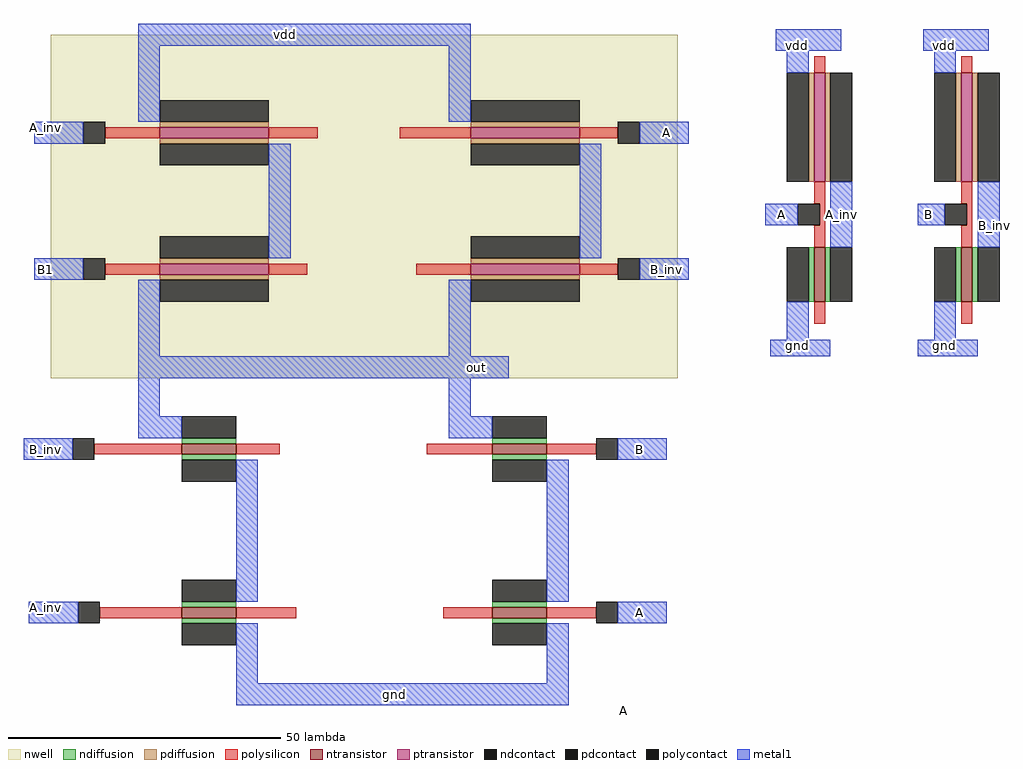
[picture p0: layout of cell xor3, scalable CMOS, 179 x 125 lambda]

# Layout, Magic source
magic
tech scmos
<< nwell >>
rect -20 -39 95 24
<< polysilicon >>
rect 120 17 122 20
rect 147 17 149 20
rect -10 5 0 7
rect 20 5 29 7
rect 44 5 57 7
rect 77 5 84 7
rect 120 -7 122 -3
rect 147 -7 149 -3
rect 121 -11 122 -7
rect 148 -11 149 -7
rect 120 -15 122 -11
rect 147 -15 149 -11
rect -10 -20 0 -18
rect 20 -20 27 -18
rect 47 -20 57 -18
rect 77 -20 84 -18
rect 120 -29 122 -25
rect 147 -29 149 -25
rect -12 -53 4 -51
rect 14 -53 22 -51
rect 49 -53 61 -51
rect 71 -53 80 -51
rect -11 -83 4 -81
rect 14 -83 25 -81
rect 52 -83 61 -81
rect 71 -83 80 -81
<< ndiffusion >>
rect 119 -25 120 -15
rect 122 -25 123 -15
rect 146 -25 147 -15
rect 149 -25 150 -15
rect 4 -51 14 -50
rect 61 -51 71 -50
rect 4 -54 14 -53
rect 61 -54 71 -53
rect 4 -81 14 -80
rect 61 -81 71 -80
rect 4 -84 14 -83
rect 61 -84 71 -83
<< pdiffusion >>
rect 0 7 20 8
rect 57 7 77 8
rect 0 4 20 5
rect 57 4 77 5
rect 119 -3 120 17
rect 122 -3 123 17
rect 146 -3 147 17
rect 149 -3 150 17
rect 0 -18 20 -17
rect 57 -18 77 -17
rect 0 -21 20 -20
rect 57 -21 77 -20
<< metal1 >>
rect -4 22 57 26
rect -4 8 0 22
rect 53 8 57 22
rect 113 21 125 25
rect 140 21 152 25
rect 115 17 119 21
rect 142 17 146 21
rect -23 4 -14 8
rect 88 4 97 8
rect 20 -17 24 4
rect 77 -17 81 4
rect 111 -11 117 -7
rect 123 -15 127 -3
rect 139 -11 144 -7
rect 150 -15 154 -3
rect -23 -21 -14 -17
rect 88 -21 97 -17
rect -4 -35 0 -21
rect 53 -35 57 -21
rect 115 -32 119 -25
rect 142 -32 146 -25
rect 112 -35 123 -32
rect 139 -35 150 -32
rect -4 -39 64 -35
rect -4 -46 0 -39
rect 53 -46 57 -39
rect -4 -50 4 -46
rect 53 -50 61 -46
rect -25 -54 -16 -50
rect 84 -54 93 -50
rect 14 -80 18 -54
rect 71 -80 75 -54
rect -24 -84 -15 -80
rect 84 -84 93 -80
rect 14 -95 18 -84
rect 71 -95 75 -84
rect 14 -99 75 -95
<< ntransistor >>
rect 120 -25 122 -15
rect 147 -25 149 -15
rect 4 -53 14 -51
rect 61 -53 71 -51
rect 4 -83 14 -81
rect 61 -83 71 -81
<< ptransistor >>
rect 0 5 20 7
rect 57 5 77 7
rect 120 -3 122 17
rect 147 -3 149 17
rect 0 -20 20 -18
rect 57 -20 77 -18
<< polycontact >>
rect -14 4 -10 8
rect 84 4 88 8
rect 117 -11 121 -7
rect 144 -11 148 -7
rect -14 -21 -10 -17
rect 84 -21 88 -17
rect -16 -54 -12 -50
rect 80 -54 84 -50
rect -15 -84 -11 -80
rect 80 -84 84 -80
<< ndcontact >>
rect 115 -25 119 -15
rect 123 -25 127 -15
rect 142 -25 146 -15
rect 150 -25 154 -15
rect 4 -50 14 -46
rect 61 -50 71 -46
rect 4 -58 14 -54
rect 61 -58 71 -54
rect 4 -80 14 -76
rect 61 -80 71 -76
rect 4 -88 14 -84
rect 61 -88 71 -84
<< pdcontact >>
rect 0 8 20 12
rect 57 8 77 12
rect 0 0 20 4
rect 57 0 77 4
rect 115 -3 119 17
rect 123 -3 127 17
rect 142 -3 146 17
rect 150 -3 154 17
rect 0 -17 20 -13
rect 57 -17 77 -13
rect 0 -25 20 -21
rect 57 -25 77 -21
<< labels >>
rlabel metal1 58 -37 58 -37 1 out
rlabel metal1 -21 7 -21 7 3 A_inv
rlabel metal1 -21 -81 -21 -81 3 A_inv
rlabel metal1 93 6 93 6 7 A
rlabel metal1 23 24 23 24 5 vdd
rlabel metal1 43 -97 43 -97 1 gnd
rlabel metal1 -21 -52 -21 -52 3 B_inv
rlabel metal1 93 -19 93 -19 7 B_inv
rlabel metal1 88 -52 88 -52 1 B
rlabel metal1 88 -82 88 -82 1 A
rlabel metal1 117 22 117 22 5 vdd
rlabel metal1 117 -33 117 -33 1 gnd
rlabel metal1 144 -33 144 -33 1 gnd
rlabel metal1 144 22 144 22 5 vdd
rlabel metal1 114 -9 114 -9 1 A
rlabel metal1 125 -9 125 -9 1 A_inv
rlabel metal1 153 -11 153 -11 7 B_inv
rlabel metal1 141 -9 141 -9 1 B
rlabel metal1 -21 -19 -21 -19 3 B1
rlabel space 85 -100 85 -100 1 A
<< end >>
